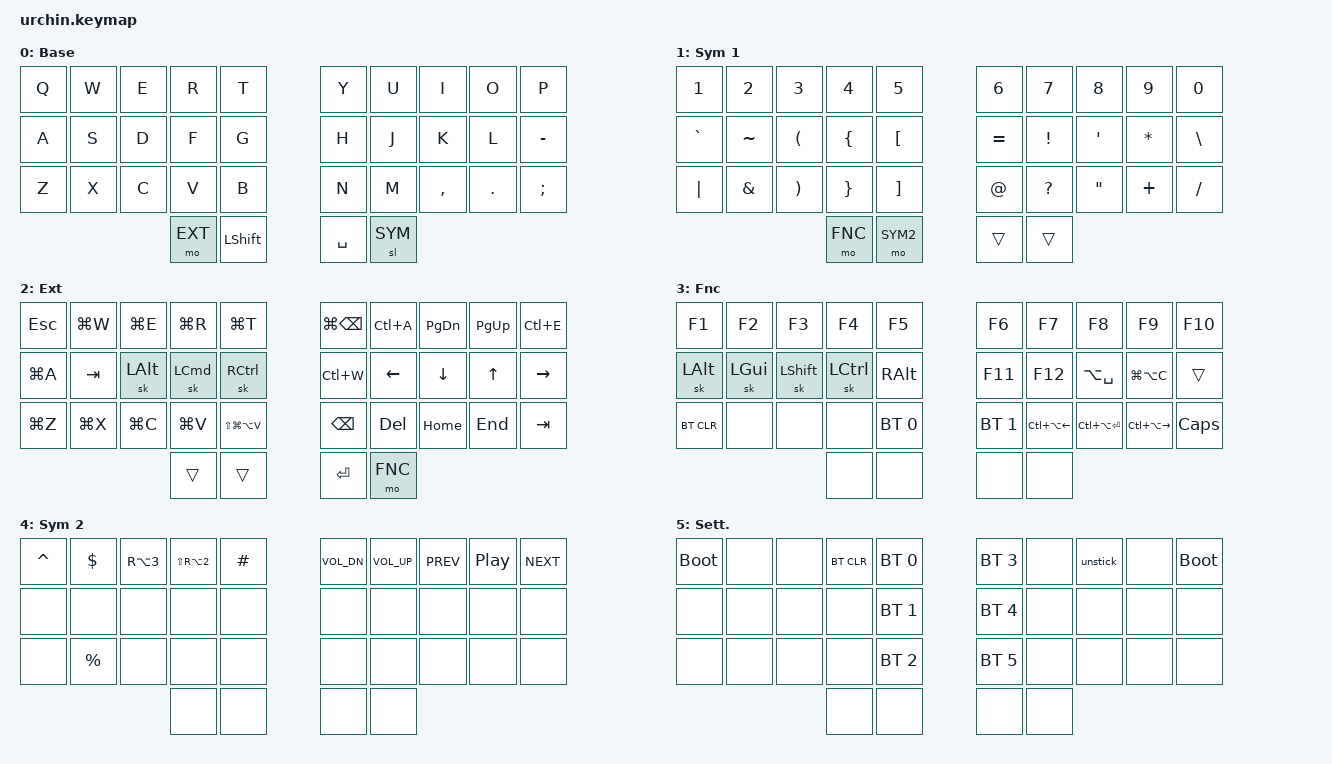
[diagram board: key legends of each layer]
/*
 * Copyright (c) 2020 duckyb
 *
 * SPDX-License-Identifier: MIT
 */

#include <behaviors.dtsi>
#include <dt-bindings/zmk/keys.h>
#include <dt-bindings/zmk/bt.h>
#include <dt-bindings/zmk/outputs.h>
#include "keymap_italian.h"

// Layer definitions
#define BASE 0
#define SYM 1
#define EXT 2
#define FNC 3
#define SYM2 4
#define ACCENT 5
#define SETTINGS 6
// -----------------

&sk {
	// don't release mods on other mods presses
	ignore-modifiers;
};


/ {
	behaviors {
		// Enables holding the first mod-tap key
		// by performing a tap-release-hold sequence.
		// To use it: "&qt KEYCODE1 KEYCODE2"
		qt: quick_tap {
			compatible = "zmk,behavior-hold-tap";
			label = "QUICK_TAP";
			#binding-cells = <2>;
			flavor = "hold-preferred";
			tapping-term-ms = <200>;
			quick-tap-ms = <200>;
			bindings = <&kp>, <&kp>;
		};
	};

	macros {
		// sometimes my device thinks a modifier is being held down
		// pressing all modifiers fixes it.
		unstick: unstick {
			label = "ZM_unstick";
			compatible = "zmk,behavior-macro";
			#binding-cells = <0>;
			bindings = <&kp LSHIFT &kp RSHIFT &kp LCTRL &kp RCTRL &kp LALT &kp RALT &kp LGUI &kp RGUI>;
		};
	};

	// key-positions = <31 33>; // internal-left & external-right thumb keys
	// key-positions = <30 31>; // both left thumb keys
	// key-positions = <32 33>; // both right thumb keys
	// key-positions = <12 13>; // left index & middle fingers (home-row)

	combos {
		compatible = "zmk,combos";
		
		// combo_accent {
		// 	timeout-ms = <200>;
		// 	key-positions = <30 31>; // both left thumb keys
		// 	bindings = <&mo ACCENT>;
		// };
		
		combo_sym2 {
			timeout-ms = <200>;
			key-positions = <32 33>; // both right thumb keys
			bindings = <&mo SYM2>;
		};

		 combo_settings {
		 	timeout-ms = <200>;
		 	key-positions = <30 31>; // both left thumb keys
		 	bindings = <&mo SETTINGS>;
		 };

		// left index & middle fingers (home-row)
		// hold control & space for Adobe workflow
		combo_ctrl_space {
			timeout-ms = <200>;
			key-positions = <12 13>; // left index & middle fingers (home-row)
			bindings = <&kp LC(SPACE)>;
			layers = <BASE>;
		};
	};

	keymap {
		compatible = "zmk,keymap";
		// Base alpha layer
		default_layer {
			label = "Base";
			bindings = <
			&kp Q &kp W &kp E 	&kp R 	&kp T           &kp Y 		&kp U  	&kp I     &kp O   	&kp P 
			&kp A &kp S &kp D 	&kp F 	&kp G           &kp H 		&kp J  	&kp K     &kp L 	&kp MINUS
			&kp Z &kp X &kp C 	&kp V 	&kp B           &kp N 		&kp M  	&kp COMMA &kp DOT 	&kp SEMICOLON
								&mo EXT &kp LSHIFT      &kp SPACE 	&sl SYM
			>;
		};

		// Numbers and high frequency symbols
		sym_layer {
			label = "Sym 1";
			bindings = <
			&kp N1 			&kp N2 			&kp N3 		&kp N4 			&kp N5		                &kp N6 		&kp N7 				&kp N8 				&kp N9 			&kp N0
			&kp GRAVE 		&kp TILDE		&kp LPAR 	&kp LEFT_BRACE 	&kp LEFT_BRACKET	  		&kp EQUAL 	&kp EXCLAMATION		&kp SINGLE_QUOTE 	&kp ASTERISK 	&kp BACKSLASH
			&kp PIPE	 	&kp AMPERSAND 	&kp RPAR 	&kp RIGHT_BRACE &kp RIGHT_BRACKET 			&kp AT_SIGN &kp QUESTION 	&kp DOUBLE_QUOTES 	&kp PLUS 		&kp SLASH
														&mo FNC  		&mo SYM2      	 			&trans 		&trans
			>;
		};

		// Main modifiers and arrow keys
		ext_layer {
			label = "Ext";
			bindings = <
			&kp ESC  		&kp LG(W)		&kp LG(E)		&kp LG(R) 	&kp LG(T) 				&kp LG(BSPC)	&kp LC(A) 	&kp PG_DN 	&kp PG_UP 	&kp LC(E)
			&kp LG(A) 		&kp TAB  		&sk LALT  		&sk LCMD  	&sk RCTRL  				&kp LC(W)	 	&kp LEFT  	&kp DOWN 	&kp UP   	&kp RIGHT
			&kp LG(Z)  		&kp LG(X) 		&kp LG(C) 		&kp LG(V)  	&kp LS(LG(LA(V))) 	    &kp BSPC	 	&kp DEL		&kp HOME    &kp END		&kp TAB
															&trans 		&trans    				&kp ENTER  		&mo FNC
			>;
		};

		// Function keys with modifiers
		fnc_layer {
			label = "Fnc";
			bindings = <
			&kp F1 		&kp F2 		&kp F3 		&kp F4 		&kp F5                  				&kp F6 			&kp F7 				&kp F8 				&kp F9 				&kp F10 
			&sk LALT 	&sk LGUI 	&sk LSHIFT 	&sk LCTRL 	&kp RALT     							&kp F11 		&kp F12  			&kp LA(SPACE) 		&kp LG(LA(C)) 		&trans
			&bt BT_CLR	&none 		&none 		&none 		&bt BT_SEL 0				    		&bt BT_SEL 1 	&kp LC(LA(LEFT))	&kp LC(LA(ENTER)) 	&kp LC(LA(RIGHT)) 	&kp CAPS
							  					&none 		&none              						&none 	&none  
			>;
		};

		// Low frequency symbols.
		symbols_2_layer {
			label = "Sym 2";
			bindings = <
			&kp CARET 	&kp DOLLAR	&kp RA(N3) 		&kp LS(RA(N2))  &kp HASH         		&kp K_VOL_DN 	&kp K_VOL_UP	&kp C_PREV 	&kp C_PP  	&kp C_NEXT 
			&none		&none  		&none		 	&none	 		&none          			&none 			&none 			&none 		&none 		&none
			&none 		&kp PERCENT &none 			&none 			&none				  	&none 			&none 			&none 		&none 		&none
													&none 			&none        			&none 			&none 
			>;
		};

		// // Used to type regional accents.
		// accent_layer {
		// 	label = "Accent";
		// 	bindings = <
		// 	&none &none &none &none &none       &none &none &none &none &none 
		// 	&none &none &none &none &none 		&none &none &none &none &none
		// 	&none &none &none &none &none       &none &none &none &none &none
		// 					  &none &none       &none &none 
		// 	>;
		// };

		// Used to change the keyboard's settings.
		settings_layer {
				label = "Sett.";
				bindings = <
				&bootloader &none &none &bt BT_CLR &bt BT_SEL 0               &bt BT_SEL 3 &none &unstick &none &bootloader 
				&none &none &none &none      &bt BT_SEL 1 						  &bt BT_SEL 4 &none &none &none &none
				&none &none &none &none      &bt BT_SEL 2               &bt BT_SEL 5 &none &none &none &none
										&none &none                         &none &none 
				>;
		};
	};
};
